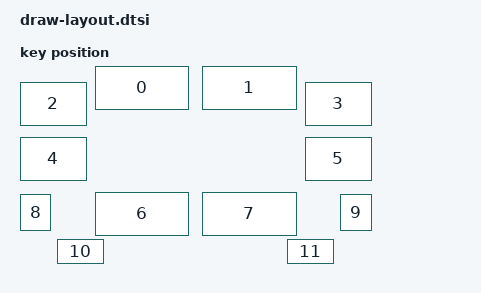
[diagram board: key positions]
/*
 * Draw-only physical layout for keymap-drawer (README SVG + release PDF).
 * Same key order / topology as buttons.dtsi physical_layout0, but squatter
 * sides and tighter spacing so legends stay large and readable.
 * Does NOT affect firmware / ZMK Studio.
 *
 * Key order (matches keymap positions):
 *   0–1  top pair
 *   2–3  upper side pair
 *   4–5  lower side pair
 *   6–7  bottom pair
 *   8–9  vertical encoder strips (L, R)
 *  10–11 horizontal encoder strips (L, R)
 */
/ {
	draw_layout: physical_layout_draw {
		compatible = "zmk,physical-layout";
		display-name = "Draw Layout";

		keys  //               w     h     x     y     rot  rx   ry
		/* top pair — sits above the side pillars */
		= <&key_physical_attrs 195   95    150   0     0    14   14 >
		, <&key_physical_attrs 195   95    365   0     0    14   14 >

		/* upper sides — dropped so top pair reads higher */
		, <&key_physical_attrs 140   95    0     32    0    14   14 >
		, <&key_physical_attrs 140   95    570   32    0    14   14 >

		/* lower sides */
		, <&key_physical_attrs 140   95    0     142   0    14   14 >
		, <&key_physical_attrs 140   95    570   142   0    14   14 >

		/* bottom pair */
		, <&key_physical_attrs 195   95    150   252   0    14   14 >
		, <&key_physical_attrs 195   95    365   252   0    14   14 >

		/* encoder vertical */
		, <&key_physical_attrs 70    80    0     257   0    12   12 >
		, <&key_physical_attrs 70    80    640   257   0    12   12 >

		/* encoder horizontal */
		, <&key_physical_attrs 100   55    75    347   0    12   12 >
		, <&key_physical_attrs 100   55    535   347   0    12   12 >
		;
	};
};
